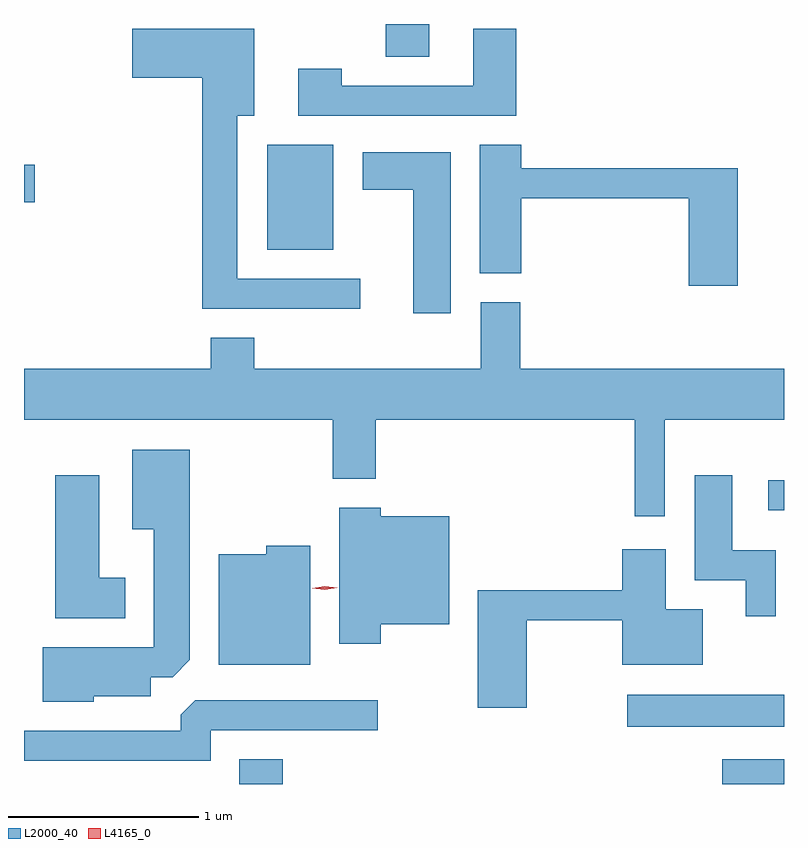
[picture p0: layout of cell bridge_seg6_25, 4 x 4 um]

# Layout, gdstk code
import gdstk
lib = gdstk.Library(unit=1e-6, precision=1e-09)
def R(c, l, rs):  # rectangles x0, y0, x1, y1
    for r in rs: c.add(gdstk.rectangle(r[:2], r[2:], *l))
def P(c, l, *ps):  # polygons
    for p in ps: c.add(gdstk.Polygon(p, *l))
L2000_40 = (2000, 40)
L4165_0 = (4165, 0)

bridge_seg6_25 = lib.new_cell('bridge_seg6_25')
R(bridge_seg6_25, L2000_40, [(1785.771,1659.119,1785.999,1659.249), (1788.311,1659.119,1788.637,1659.249), (1787.813,1659.421,1788.637,1659.589), (1788.553,1660.561,1788.637,1660.719), (1785.916,1661.931,1786.264,1662.484), (1784.637,1662.181,1784.694,1662.379), (1786.541,1662.946,1786.769,1663.119)])
P(bridge_seg6_25, L2000_40, [(1786.408,1661.779),(1785.759,1661.779),(1785.759,1662.636),(1785.849,1662.636),(1785.849,1663.094),(1785.206,1663.094),(1785.206,1662.836),(1785.576,1662.836),(1785.576,1661.621),(1786.408,1661.621)],
  [(1787.229,1663.094),(1787.001,1663.094),(1787.001,1662.794),(1786.309,1662.794),(1786.309,1662.884),(1786.081,1662.884),(1786.081,1662.636),(1787.229,1662.636)],
  [(1788.394,1662.359),(1787.254,1662.359),(1787.254,1662.484),(1787.036,1662.484),(1787.036,1661.806),(1787.254,1661.806),(1787.254,1662.201),(1788.136,1662.201),(1788.136,1661.741),(1788.394,1661.741)],
  [(1786.884,1662.444),(1786.421,1662.444),(1786.421,1662.246),(1786.686,1662.246),(1786.686,1661.596),(1786.884,1661.596)],
  [(1788.009,1661.036),(1788.637,1661.036),(1788.637,1661.304),(1787.249,1661.304),(1787.249,1661.654),(1787.041,1661.654),(1787.041,1661.304),(1785.849,1661.304),(1785.849,1661.469),(1785.621,1661.469),(1785.621,1661.304),(1784.637,1661.304),(1784.637,1661.036),(1786.261,1661.036),(1786.261,1660.726),(1786.489,1660.726),(1786.489,1661.036),(1787.851,1661.036),(1787.851,1660.528),(1788.009,1660.528)],
  [(1785.004,1659.581),(1785.304,1659.581),(1785.304,1659.681),(1785.419,1659.681),(1785.509,1659.772),(1785.509,1660.879),(1785.206,1660.879),(1785.206,1660.461),(1785.321,1660.461),(1785.321,1659.839),(1784.736,1659.839),(1784.736,1659.551),(1785.004,1659.551)],
  [(1785.169,1660.204),(1785.034,1660.204),(1785.034,1660.744),(1784.801,1660.744),(1784.801,1659.991),(1785.169,1659.991)],
  [(1788.594,1660.349),(1788.364,1660.349),(1788.364,1660.744),(1788.166,1660.744),(1788.166,1660.191),(1788.436,1660.191),(1788.436,1660.003),(1788.594,1660.003)],
  [(1786.514,1659.961),(1786.874,1659.961),(1786.874,1660.529),(1786.514,1660.529),(1786.514,1660.574),(1786.296,1660.574),(1786.296,1659.856),(1786.514,1659.856)],
  [(1786.144,1660.374),(1785.911,1660.374),(1785.911,1660.329),(1785.661,1660.329),(1785.661,1659.746),(1786.144,1659.746)],
  [(1787.284,1659.981),(1787.786,1659.981),(1787.786,1659.746),(1788.209,1659.746),(1788.209,1660.039),(1788.014,1660.039),(1788.014,1660.354),(1787.786,1660.354),(1787.786,1660.139),(1787.026,1660.139),(1787.026,1659.521),(1787.284,1659.521)],
  [(1785.619,1659.401),(1786.498,1659.401),(1786.498,1659.559),(1785.537,1659.559),(1785.461,1659.484),(1785.461,1659.399),(1784.637,1659.399),(1784.637,1659.241),(1785.619,1659.241)])
P(bridge_seg6_25, L4165_0, [(1786.22,1660.141),(1786.154,1660.149),(1786.153,1660.15),(1786.154,1660.15),(1786.219,1660.161),(1786.286,1660.152),(1786.286,1660.152),(1786.286,1660.151)])

lib.write_gds('bridge_seg6_25.gds')
